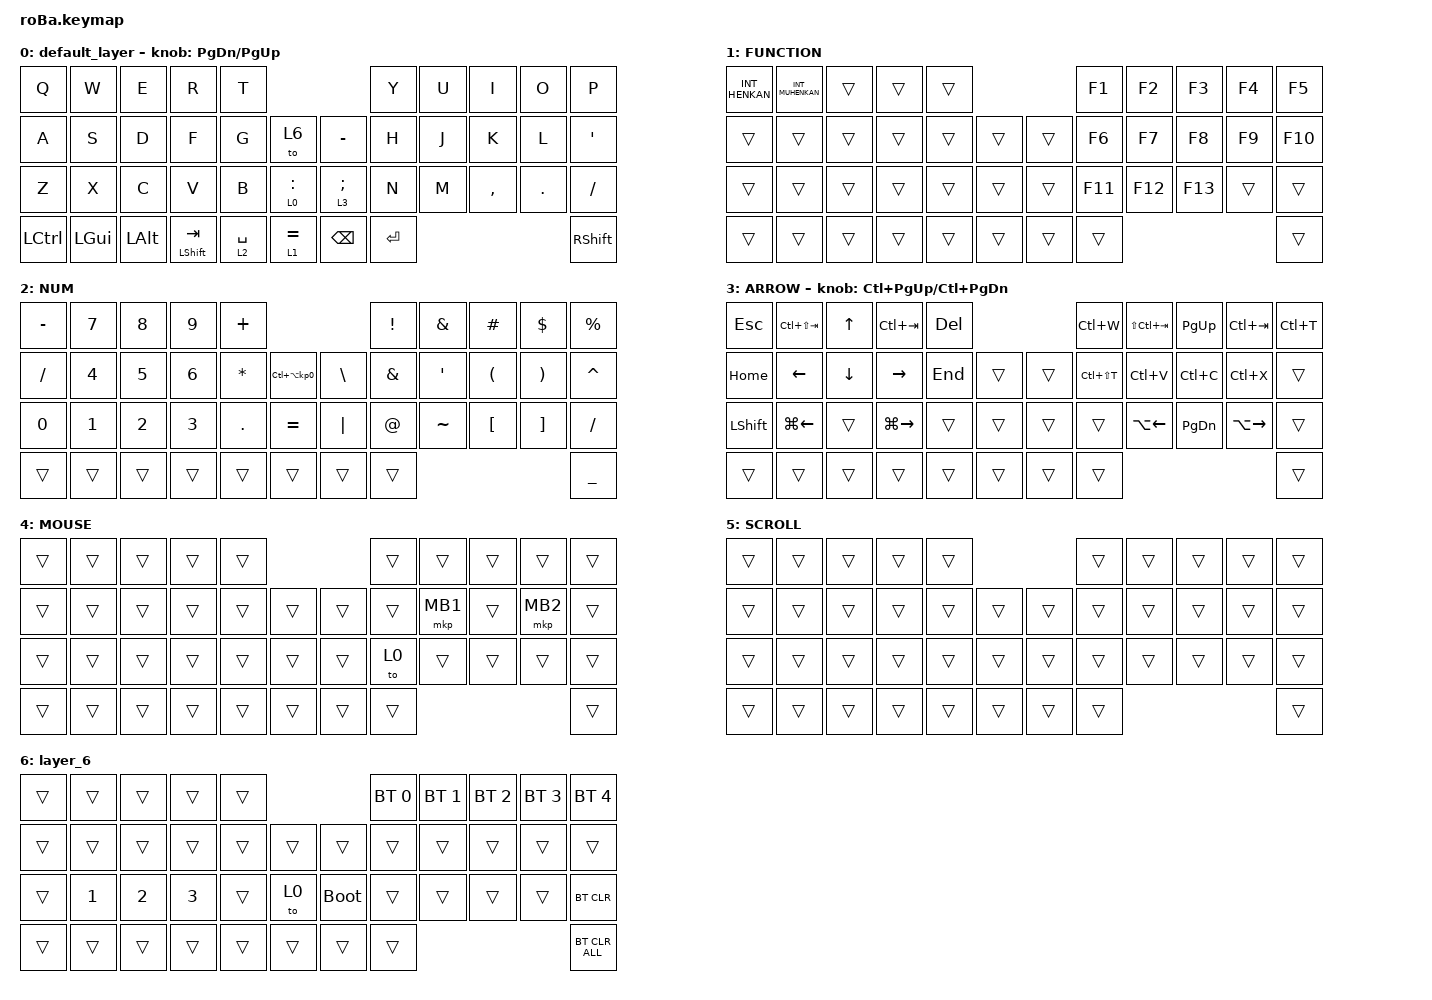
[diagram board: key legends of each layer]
#include <behaviors.dtsi>
#include <dt-bindings/zmk/bt.h>
#include <dt-bindings/zmk/keys.h>
#include <dt-bindings/zmk/pointing.h>

&mt {
    flavor = "balanced";
    quick-tap-ms = <0>;
};

&trackball { scroll-layers = <5>; };

/ {
    combos {
        compatible = "zmk,combos";

        tab {
            bindings = <&kp LS(TAB)>;
            key-positions = <11 12>;
        };

        shift_tab {
            bindings = <&kp TAB>;
            key-positions = <12 13>;
        };

        muhennkann {
            bindings = <&to_layer_0 INT_MUHENKAN>;
            key-positions = <11 10>;
        };

        double_quotation {
            bindings = <&kp DOUBLE_QUOTES>;
            key-positions = <20 21>;
        };

        eq {
            bindings = <&kp EQUAL>;
            key-positions = <24 25>;
        };

        screenshot {
            bindings = <&kp RG(RS(S))>;
            key-positions = <18 17>;
        };

        middleclick {
            bindings = <&mkp MB3>;
            key-positions = <20 18 19>;
            layers = <4>;
        };

        to_layer_1 {
            bindings = <&to 1>;
            key-positions = <23 26>;
            layers = <0 2 1 3 6>;
        };

        to_layer_2 {
            bindings = <&to 2>;
            key-positions = <24 26>;
            layers = <0 1 2 3 6>;
        };

        to_layer_3 {
            bindings = <&tog 3>;
            key-positions = <25 26>;
            layers = <0 1 2 3 6>;
        };

        to_layer_0 {
            bindings = <&to 0>;
            key-positions = <26 27>;
            layers = <0 1 2 3 6>;
        };

        to_layer_3_r {
            bindings = <&tog 3>;
            key-positions = <19 21>;
            layers = <0 3>;
        };

        layer_to_6 {
            bindings = <&to 6>;
            key-positions = <26 13>;
        };
    };

    macros {
        to_layer_0: to_layer_0 {
            compatible = "zmk,behavior-macro-one-param";
            #binding-cells = <1>;
            bindings = <&to 3 &macro_param_1to1 &kp MACRO_PLACEHOLDER>;
            label = "TO_LAYER_0";
        };

        new_macro: new_macro {
            compatible = "zmk,behavior-macro";
            #binding-cells = <0>;
            bindings = <&none>;
            label = "NEW_MACRO";
        };
    };

    behaviors {
        lt_to_layer_0: lt_to_layer_0 {
            compatible = "zmk,behavior-hold-tap";
            label = "LAYER_TAP_TO_0";
            bindings = <&mo>, <&to_layer_0>;

            #binding-cells = <2>;
            tapping-term-ms = <200>;
        };

        kpls: layout_shift_key_press {
            compatible = "zmk,behavior-layout-shift-key-press";
            #binding-cells = <1>;
            label = "LAYOUT_SHIFT_KEY_PRESS";
            display-name = "Key Press with Layout Shift";
        };

        mtls: layout_shift_mod_tap {
            compatible = "zmk,behavior-hold-tap";
            #binding-cells = <2>;
            flavor = "hold-preferred";
            tapping-term-ms = <200>;
            bindings = <&kpls>, <&kpls>;

            display-name = "Mod-Tap with Layout Shift";
        };

        tog_ls: toggle_layout_shift {
            compatible = "zmk,behavior-layout-shift-toggle";
            #binding-cells = <0>;
            toggle-mode = "flip";
            label = "LAYOUT_SHIFT_TOGGLE";
            display-name = "Toggle Layout Shift";
        };

        tog_ls_on: toggle_layout_shift_on {
            compatible = "zmk,behavior-layout-shift-toggle";
            #binding-cells = <0>;
            toggle-mode = "on";
            label = "LAYOUT_SHIFT_TOGGLE_ON";
            display-name = "Toggle Layout Shift On";
        };

        tog_ls_off: toggle_layout_shift_off {
            compatible = "zmk,behavior-layout-shift-toggle";
            #binding-cells = <0>;
            toggle-mode = "off";
            label = "LAYOUT_SHIFT_TOGGLE_OFF";
            display-name = "Toggle Layout Shift Off";
        };
    };

    keymap {
        compatible = "zmk,keymap";

        default_layer {
            bindings = <
&kp Q      &kp W         &kp E         &kp R               &kp T                                        &kp Y       &kp U  &kp I      &kp O    &kp P
&kp A      &kp S         &kp D         &kp F               &kp G        &to 6            &kp MINUS      &kp H       &kp J  &kp K      &kp L    &kp SQT
&kp Z      &kp X         &kp C         &kp V               &kp B        &lt 0 COLON      &lt 3 SEMI     &kp N       &kp M  &kp COMMA  &kp DOT  &kp SLASH
&kp LCTRL  &kp LEFT_GUI  &kp LEFT_ALT  &mt LEFT_SHIFT TAB  &lt 2 SPACE  &lt 1 EQUAL      &kp BACKSPACE  &kp RETURN                             &kp RIGHT_SHIFT
            >;

            sensor-bindings = <&inc_dec_kp PAGE_DOWN PAGE_UP>;
        };

        FUNCTION {
            bindings = <
&kp INT_HENKAN  &kp INT_MUHENKAN  &trans  &trans  &trans                      &kp F1   &kp F2   &kp F3   &kp F4  &kp F5
&trans          &trans            &trans  &trans  &trans  &trans      &trans  &kp F6   &kp F7   &kp F8   &kp F9  &kp F10
&trans          &trans            &trans  &trans  &trans  &trans      &trans  &kp F11  &kp F12  &kp F13  &trans  &trans
&trans          &trans            &trans  &trans  &trans  &trans      &trans  &trans                             &trans
            >;
        };

        NUM {
            bindings = <
&kp MINUS  &kp N7        &kp NUMBER_8  &kp NUMBER_9  &kp PLUS                                                  &kp EXCL       &kp AMPERSAND  &kp HASH              &kp DOLLAR             &kp PERCENT
&kp SLASH  &kp NUMBER_4  &kp NUMBER_5  &kp NUMBER_6  &kp ASTERISK  &kp LC(LA(KP_NUMBER_0))      &kp BACKSLASH  &kp AMPERSAND  &kp SQT        &kp LEFT_PARENTHESIS  &kp RIGHT_PARENTHESIS  &kp CARET
&kp N0     &kp NUMBER_1  &kp NUMBER_2  &kp NUMBER_3  &kp PERIOD    &kp EQUAL                    &kp PIPE       &kp AT_SIGN    &kp TILDE      &kp LEFT_BRACKET      &kp RIGHT_BRACKET      &kp SLASH
&trans     &trans        &trans        &trans        &trans        &trans                       &trans         &trans                                                                     &kp UNDER
            >;
        };

        ARROW {
            bindings = <
&kp ESCAPE      &kp LC(LS(TAB))     &kp UP_ARROW    &kp LC(TAB)          &kp DEL                      &kp LC(W)      &kp LS(LC(TAB))  &kp PAGE_UP    &kp LC(TAB)    &kp LC(T)
&kp HOME        &kp LEFT_ARROW      &kp DOWN_ARROW  &kp RIGHT_ARROW      &kp END  &trans      &trans  &kp LC(LS(T))  &kp LC(V)        &kp LC(C)      &kp LC(X)      &trans
&kp LEFT_SHIFT  &kp LG(LEFT_ARROW)  &trans          &kp LG(RIGHT_ARROW)  &trans   &trans      &trans  &trans         &kp LA(LEFT)     &kp PAGE_DOWN  &kp LA(RIGHT)  &trans
&trans          &trans              &trans          &trans               &trans   &trans      &trans  &trans                                                        &trans
            >;

            sensor-bindings = <&inc_dec_kp LC(PAGE_UP) LC(PAGE_DOWN)>;
        };

        MOUSE {
            bindings = <
&trans  &trans  &trans  &trans  &trans                      &trans  &trans    &trans  &trans    &trans
&trans  &trans  &trans  &trans  &trans  &trans      &trans  &trans  &mkp MB1  &trans  &mkp MB2  &trans
&trans  &trans  &trans  &trans  &trans  &trans      &trans  &to 0   &trans    &trans  &trans    &trans
&trans  &trans  &trans  &trans  &trans  &trans      &trans  &trans                              &trans
            >;
        };

        SCROLL {
            bindings = <
&trans  &trans  &trans  &trans  &trans                      &trans  &trans  &trans  &trans  &trans
&trans  &trans  &trans  &trans  &trans  &trans      &trans  &trans  &trans  &trans  &trans  &trans
&trans  &trans  &trans  &trans  &trans  &trans      &trans  &trans  &trans  &trans  &trans  &trans
&trans  &trans  &trans  &trans  &trans  &trans      &trans  &trans                          &trans
            >;
        };

        layer_6 {
            bindings = <
&trans  &trans        &trans        &trans        &trans                           &bt BT_SEL 0  &bt BT_SEL 1  &bt BT_SEL 2  &bt BT_SEL 3  &bt BT_SEL 4
&trans  &trans        &trans        &trans        &trans  &trans      &trans       &trans        &trans        &trans        &trans        &trans
&trans  &kp NUMBER_1  &kp NUMBER_2  &kp NUMBER_3  &trans  &to 0       &bootloader  &trans        &trans        &trans        &trans        &bt BT_CLR
&trans  &trans        &trans        &trans        &trans  &trans      &trans       &trans                                                  &bt BT_CLR_ALL
            >;
        };
    };
};
